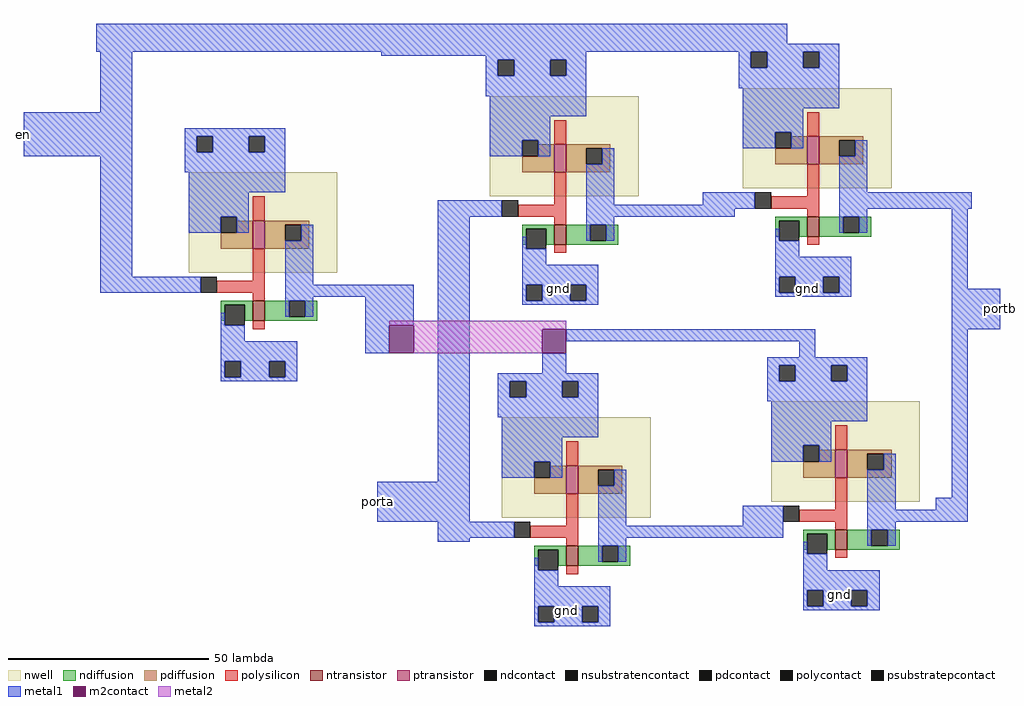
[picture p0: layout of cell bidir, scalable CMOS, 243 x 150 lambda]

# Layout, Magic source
magic
tech scmos
<< metal1 >>
rect -113 77 59 82
rect -113 75 47 77
rect -112 60 -104 75
rect -42 74 -10 75
rect -131 49 -104 60
rect -112 19 -104 49
rect -28 34 -19 38
rect 38 37 46 40
rect 16 34 46 37
rect 79 36 105 40
rect -112 15 -94 19
rect -59 14 -34 17
rect -46 7 -34 14
rect -46 0 -40 7
rect -28 -32 -20 34
rect 100 16 104 36
rect 100 6 112 16
rect 4 3 66 6
rect -2 -5 4 0
rect 62 -1 66 3
rect -43 -42 -20 -32
rect 100 -36 104 6
rect 48 -42 54 -38
rect 96 -39 104 -36
rect 85 -42 104 -39
rect -28 -46 -16 -42
rect 48 -43 58 -42
rect 19 -46 58 -43
rect -28 -47 -20 -46
<< m2contact >>
rect -40 0 -34 7
rect -2 0 4 6
<< metal2 >>
rect -40 7 4 8
rect -34 6 4 7
rect -34 0 -2 6
use cmosinvereter  cmosinvereter_4
transform 1 0 -76 0 1 16
box -18 -23 23 40
use cmosinvereter  cmosinvereter_0
transform 1 0 -1 0 1 35
box -18 -23 23 40
use cmosinvereter  cmosinvereter_1
transform 1 0 62 0 1 37
box -18 -23 23 40
use cmosinvereter  cmosinvereter_2
transform 1 0 2 0 1 -45
box -18 -23 23 40
use cmosinvereter  cmosinvereter_3
transform 1 0 69 0 1 -41
box -18 -23 23 40
<< labels >>
rlabel metal1 -131 49 -131 60 3 en
rlabel metal1 112 6 112 16 7 portb
rlabel metal1 -43 -42 -43 -32 1 porta
rlabel space 4 -64 4 -64 1 gnd
rlabel space 72 -60 72 -60 1 gnd
rlabel space 64 16 64 16 1 gnd
rlabel space 2 16 2 16 1 gnd
<< end >>

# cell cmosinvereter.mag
magic
tech scmos
<< nwell >>
rect -14 4 23 29
<< ntransistor >>
rect 2 -8 5 -3
<< ptransistor >>
rect 2 10 5 17
<< ndiffusion >>
rect -6 -4 2 -3
rect -6 -8 -5 -4
rect 0 -8 2 -4
rect 5 -7 11 -3
rect 15 -7 18 -3
rect 5 -8 18 -7
<< pdiffusion >>
rect -2 14 2 17
rect -6 10 2 14
rect 5 16 16 17
rect 5 12 10 16
rect 14 12 16 16
rect 5 10 16 12
<< ndcontact >>
rect -5 -9 0 -4
rect 11 -7 15 -3
<< pdcontact >>
rect -6 14 -2 18
rect 10 12 14 16
<< psubstratepcontact >>
rect -12 34 -8 38
rect 1 34 5 38
<< nsubstratencontact >>
rect -5 -22 -1 -18
rect 6 -22 10 -18
<< polysilicon >>
rect 2 17 5 23
rect 2 2 5 10
rect -7 -1 5 2
rect 2 -3 5 -1
rect 2 -10 5 -8
<< polycontact >>
rect -11 -1 -7 3
<< metal1 >>
rect -15 38 10 40
rect -15 34 -12 38
rect -8 34 1 38
rect 5 34 10 38
rect -15 29 10 34
rect -14 24 10 29
rect -14 18 1 24
rect -14 14 -6 18
rect -2 14 1 18
rect 14 12 17 16
rect -18 -1 -11 3
rect 10 -3 17 12
rect -6 -9 -5 -6
rect 10 -7 11 -3
rect 15 -7 17 -3
rect -6 -13 0 -9
rect -6 -18 13 -13
rect -6 -22 -5 -18
rect -1 -22 6 -18
rect 10 -22 13 -18
rect -6 -23 13 -22
<< end >>
